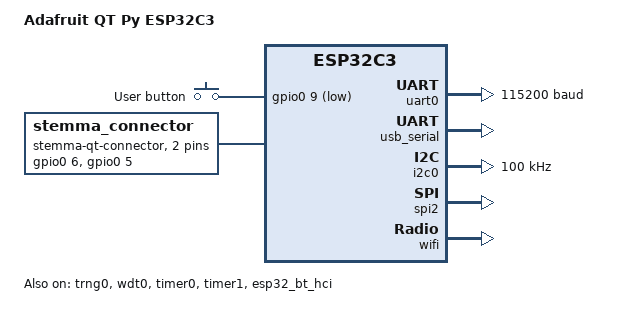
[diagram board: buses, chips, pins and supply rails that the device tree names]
/*
 * Copyright (c) 2025 Richard Osterloh
 *
 * SPDX-License-Identifier: Apache-2.0
 */

/dts-v1/;

#include <espressif/esp32c3/esp32c3.dtsi>
// #include <zephyr/dt-bindings/led/led.h>
#include <zephyr/dt-bindings/input/input-event-codes.h>
#include "adafruit_qt_py_esp32c3-pinctrl.dtsi"
#include "seeed_xiao_connector.dtsi"
#include <espressif/partitions_0x0_default.dtsi>

/ {
	model = "Adafruit QT Py ESP32C3";
	compatible = "seeed,xiao-esp32c3";

	chosen {
		zephyr,sram = &sram1;
		zephyr,console = &usb_serial;
		zephyr,shell-uart = &usb_serial;
		zephyr,flash = &flash0;
		zephyr,code-partition = &slot0_partition;
		zephyr,canbus = &twai;
		zephyr,bt-hci = &esp32_bt_hci;
	};

	aliases {
		i2c-0 = &i2c0;
		watchdog0 = &wdt0;
		// led-strip = &led_strip;
		sw0 = &button0;
	};

	buttons {
		compatible = "gpio-keys";
		button0: button_0 {
			gpios = <&gpio0 9 (GPIO_PULL_UP | GPIO_ACTIVE_LOW)>;
			label = "User button";
			zephyr,code = <INPUT_KEY_0>;
		};
	};

	stemma_connector: stemma_connector {
		compatible = "stemma-qt-connector";
		#gpio-cells = <2>;
		gpio-map-mask = <0xffffffff 0xffffffc0>;
		gpio-map-pass-thru = <0 0x3f>;
		gpio-map = <0 0 &gpio0 6 0>, /* SCL */
			   <1 0 &gpio0 5 0>; /* SDA */
	};
};

&uart0 {
	status = "okay";
	current-speed = <115200>;
	pinctrl-0 = <&uart0_default>;
	pinctrl-names = "default";
};

&usb_serial {
	status = "okay";
};

zephyr_i2c: &i2c0 {
	status = "okay";
	clock-frequency = <I2C_BITRATE_STANDARD>;
	pinctrl-0 = <&i2c0_default>;
	pinctrl-names = "default";
};

&trng0 {
	status = "okay";
};

/*
 * The QT Py ESP32-C3 carries 4 MB. This used to come from
 * <espressif/esp32c3/esp32c3_fx4.dtsi>, the SIP variant header that set flash
 * reg/ranges for the 4 MB part; upstream removed those variant files and moved
 * the sizing into each board, which is why esp32c3_common.dtsi leaves flash0
 * with the comment "reg and ranges are specified in SOC/SIP dtsi" and no reg.
 * Without this the partitions below have nothing to sit in.
 * Same shape as deps/zephyr/boards/espressif/esp32c3_devkitm/esp32c3_devkitm.dts.
 */
&flash0 {
	reg = <0x0 DT_SIZE_M(4)>;
	ranges = <0x0 0x0 DT_SIZE_M(4)>;
};

&spi2 {
	#address-cells = <1>;
	#size-cells = <0>;
	status = "okay";
	pinctrl-0 = <&spim2_default>;
	pinctrl-names = "default";
};

// &spi3 {
// 	#address-cells = <1>;
// 	#size-cells = <0>;
// 	status = "okay";
// 	pinctrl-0 = <&spim3_ws2812_led>;
// 	pinctrl-names = "default";

// 	line-idle-low;

// 	led_strip: ws2812@0 {
// 		compatible = "worldsemi,ws2812-spi";

// 		/* SPI */
// 		reg = <0>; /* ignored, but necessary for SPI bindings */
// 		spi-max-frequency = <6400000>;

// 		/* WS2812 */
// 		chain-length = <1>;
// 		spi-cpha;
// 		spi-one-frame = <0xf0>; /* 11110000: 625 ns high and 625 ns low */
// 		spi-zero-frame = <0xc0>; /* 11000000: 312.5 ns high and 937.5 ns low */
// 		color-mapping = <LED_COLOR_ID_GREEN
// 				LED_COLOR_ID_RED
// 				LED_COLOR_ID_BLUE>;
// 	};
// };

&gpio0 {
	status = "okay";
};

&wdt0 {
	status = "okay";
};

&timer0 {
	status = "okay";
};

&timer1 {
	status = "okay";
};

&twai {
	/* requires external CAN transceiver or jumper on RX and TX pins for loopback testing */
	status = "disabled";
	pinctrl-0 = <&twai_default>;
	pinctrl-names = "default";
};

&wifi {
	status = "okay";
};

&esp32_bt_hci {
	status = "okay";
};
